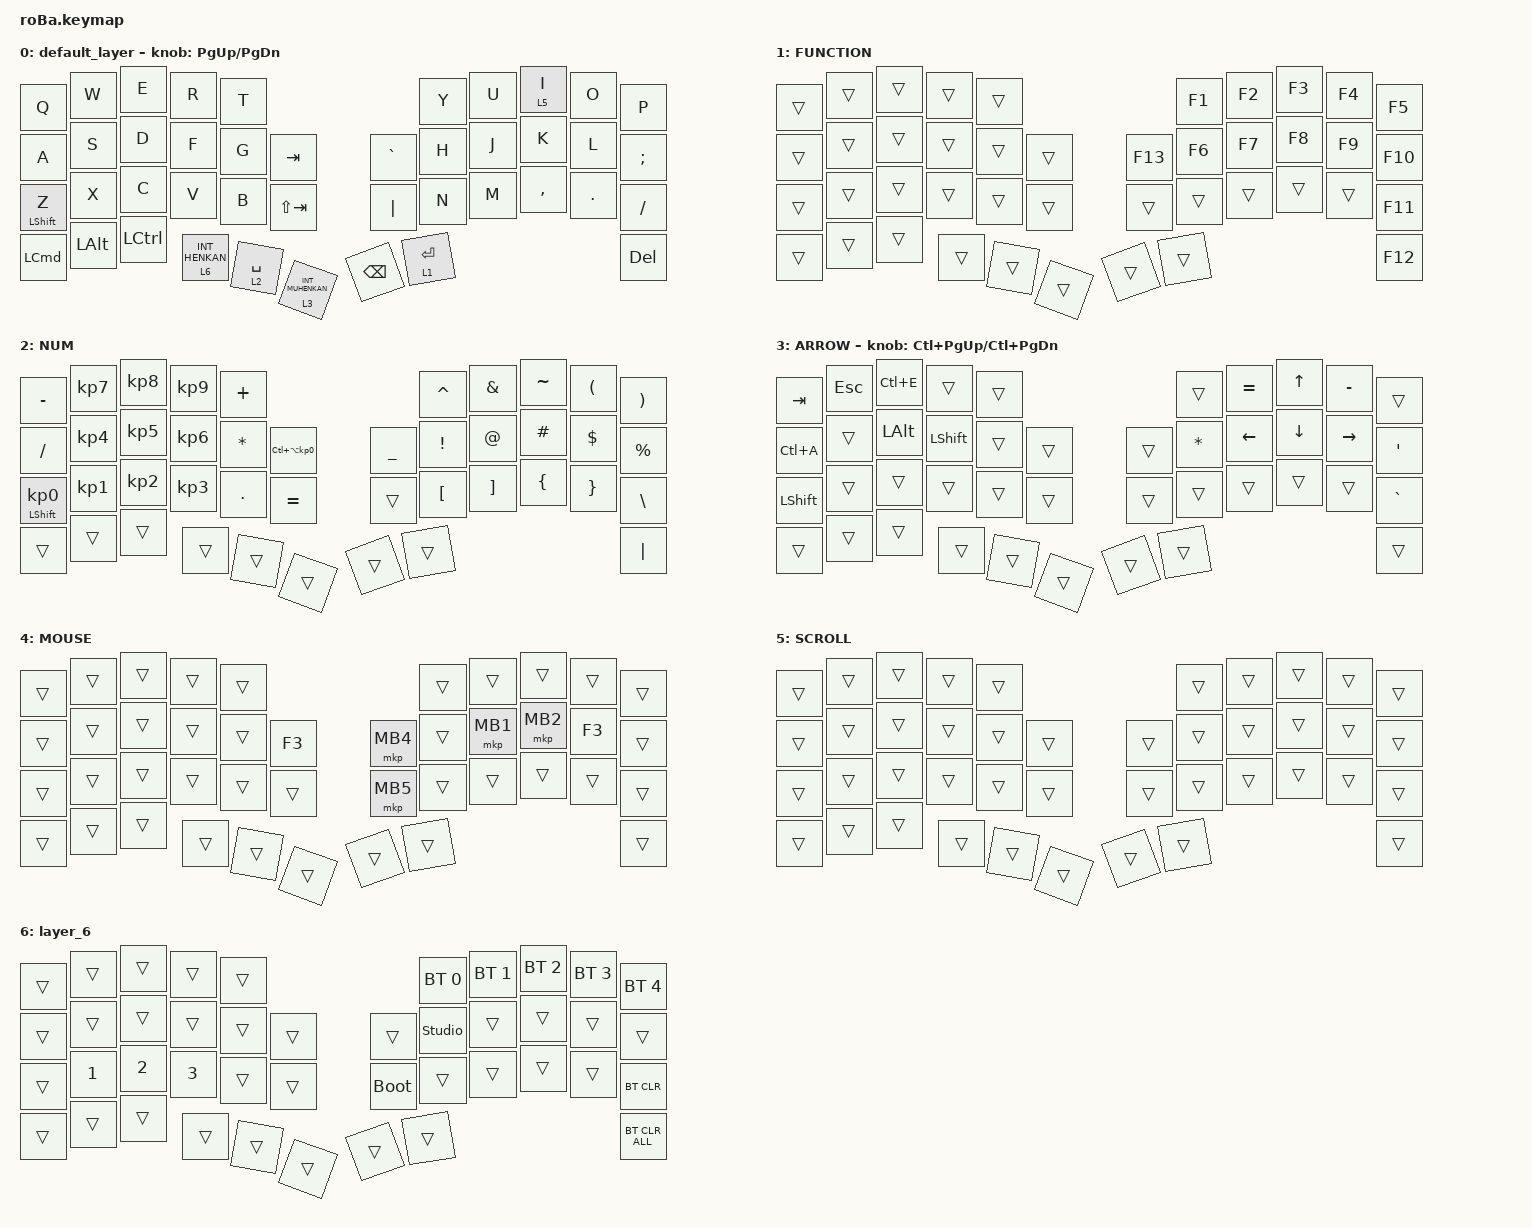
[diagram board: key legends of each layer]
#include <behaviors.dtsi>
#include <dt-bindings/zmk/bt.h>
#include <dt-bindings/zmk/keys.h>
#include <dt-bindings/zmk/pointing.h>

&mt {
    flavor = "balanced";
    quick-tap-ms = <0>;
};

// DYA Studio対応: 旧 &trackball { automouse-layer scroll-layers } は削除。
//   cormoran 版ドライバ(cormoran,pmw3610)はこれらのプロパティを持たないため。
//   auto mouse layer / スクロールは roBa_R.overlay の runtime input processor で実現し、
//   DYA Studio から実行時に変更できる。

/ {
    combos {
        compatible = "zmk,combos";

        tab {
            bindings = <&kp TAB>;
            key-positions = <0 1>;
        };

        shift_tab {
            bindings = <&kp LS(TAB)>;
            key-positions = <1 2>;
        };

        double_quotation {
            bindings = <&kp DOUBLE_QUOTES>;
            key-positions = <20 21>;
        };

        zenkaku_hanaku {
            bindings = <&kp RA(SPACE)>;
            key-positions = <18 19>;
        };

        backspace {
            bindings = <&kp BACKSPACE>;
            key-positions = <9 8>;
        };

        delete_key {
            bindings = <&kp DELETE>;
            key-positions = <7 8>;
        };

        cmd_space {
            bindings = <&kp LG(SPACE)>;
            key-positions = <12 13>;
        };

        cmd2tap {
            bindings = <&double_tap_cmd>;
            key-positions = <2 3>;
        };
    };

    macros {
        to_layer_0: to_layer_0 {
            compatible = "zmk,behavior-macro-one-param";
            #binding-cells = <1>;
            bindings = <&to 0 &macro_param_1to1 &kp MACRO_PLACEHOLDER>;
            label = "TO_LAYER_0";
        };

        double_tap_cmd: double_tap_cmd {
            compatible = "zmk,behavior-macro";
            #binding-cells = <0>;
            bindings = <&kp LEFT_COMMAND &kp LEFT_COMMAND>;
            label = "DOUBLE_TAP_CMD";
        };
    };

    behaviors {
        lt_to_layer_0: lt_to_layer_0 {
            compatible = "zmk,behavior-hold-tap";
            label = "LAYER_TAP_TO_0";
            bindings = <&mo>, <&to_layer_0>;

            #binding-cells = <2>;
            tapping-term-ms = <200>;
        };
    };

    keymap {
        compatible = "zmk,keymap";

        default_layer {
            bindings = <
&kp Q             &kp W         &kp E             &kp R                        &kp T                                                          &kp Y        &kp U  &lt 5 I    &kp O    &kp P
&kp A             &kp S         &kp D             &kp F                        &kp G        &kp TAB                            &kp GRAVE      &kp H        &kp J  &kp K      &kp L    &kp SEMICOLON
&mt LEFT_SHIFT Z  &kp X         &kp C             &kp V                        &kp B        &kp LS(TAB)                        &kp PIPE       &kp N        &kp M  &kp COMMA  &kp DOT  &kp SLASH
&kp LEFT_COMMAND  &kp LEFT_ALT  &kp LEFT_CONTROL  &lt_to_layer_0 6 INT_HENKAN  &lt 2 SPACE  &lt_to_layer_0 3 INT_MUHENKAN      &kp BACKSPACE  &lt 1 ENTER                             &kp DEL
            >;

            sensor-bindings = <&inc_dec_kp PG_UP PAGE_DOWN>;
        };

        FUNCTION {
            bindings = <
&trans  &trans  &trans  &trans  &trans                       &kp F1  &kp F2  &kp F3  &kp F4  &kp F5
&trans  &trans  &trans  &trans  &trans  &trans      &kp F13  &kp F6  &kp F7  &kp F8  &kp F9  &kp F10
&trans  &trans  &trans  &trans  &trans  &trans      &trans   &trans  &trans  &trans  &trans  &kp F11
&trans  &trans  &trans  &trans  &trans  &trans      &trans   &trans                          &kp F12
            >;
        };

        NUM {
            bindings = <
&kp MINUS                   &kp KP_NUMBER_7  &kp KP_NUMBER_8  &kp KP_NUMBER_9  &kp PLUS                                                   &kp CARET         &kp AMPERSAND      &kp TILDE       &kp LEFT_PARENTHESIS  &kp RIGHT_PARENTHESIS
&kp SLASH                   &kp KP_NUMBER_4  &kp KP_NUMBER_5  &kp KP_NUMBER_6  &kp ASTERISK  &kp LC(LA(KP_NUMBER_0))      &kp UNDERSCORE  &kp EXCLAMATION   &kp AT_SIGN        &kp HASH        &kp DOLLAR            &kp PERCENT
&mt LEFT_SHIFT KP_NUMBER_0  &kp KP_NUMBER_1  &kp KP_NUMBER_2  &kp KP_NUMBER_3  &kp PERIOD    &kp EQUAL                    &trans          &kp LEFT_BRACKET  &kp RIGHT_BRACKET  &kp LEFT_BRACE  &kp RIGHT_BRACE       &kp BACKSLASH
&trans                      &trans           &trans           &trans           &trans        &trans                       &trans          &trans                                                                     &kp PIPE
            >;
        };

        ARROW {
            bindings = <
&kp TAB         &kp ESCAPE  &kp LC(E)     &trans          &trans                      &trans        &kp EQUAL       &kp UP_ARROW    &kp MINUS        &trans
&kp LC(A)       &trans      &kp LEFT_ALT  &kp LEFT_SHIFT  &trans  &trans      &trans  &kp ASTERISK  &kp LEFT_ARROW  &kp DOWN_ARROW  &kp RIGHT_ARROW  &kp SQT
&kp LEFT_SHIFT  &trans      &trans        &trans          &trans  &trans      &trans  &trans        &trans          &trans          &trans           &kp GRAVE
&trans          &trans      &trans        &trans          &trans  &trans      &trans  &trans                                                         &trans
            >;

            sensor-bindings = <&inc_dec_kp LC(PAGE_UP) LC(PAGE_DOWN)>;
        };

        MOUSE {
            bindings = <
&trans  &trans  &trans  &trans  &trans                        &trans  &trans    &trans    &trans  &trans
&trans  &trans  &trans  &trans  &trans  &kp F3      &mkp MB4  &trans  &mkp MB1  &mkp MB2  &kp F3  &trans
&trans  &trans  &trans  &trans  &trans  &trans      &mkp MB5  &trans  &trans    &trans    &trans  &trans
&trans  &trans  &trans  &trans  &trans  &trans      &trans    &trans                              &trans
            >;
        };

        SCROLL {
            bindings = <
&trans  &trans  &trans  &trans  &trans                      &trans  &trans  &trans  &trans  &trans
&trans  &trans  &trans  &trans  &trans  &trans      &trans  &trans  &trans  &trans  &trans  &trans
&trans  &trans  &trans  &trans  &trans  &trans      &trans  &trans  &trans  &trans  &trans  &trans
&trans  &trans  &trans  &trans  &trans  &trans      &trans  &trans                          &trans
            >;
        };

        layer_6 {
            // DYA Studio対応: &studio_unlock を追加 (DYA Studio 接続時にこのキーでロック解除する)

            bindings = <
&trans  &trans        &trans        &trans        &trans                           &bt BT_SEL 0    &bt BT_SEL 1  &bt BT_SEL 2  &bt BT_SEL 3  &bt BT_SEL 4
&trans  &trans        &trans        &trans        &trans  &trans      &trans       &studio_unlock  &trans        &trans        &trans        &trans
&trans  &kp NUMBER_1  &kp NUMBER_2  &kp NUMBER_3  &trans  &trans      &bootloader  &trans          &trans        &trans        &trans        &bt BT_CLR
&trans  &trans        &trans        &trans        &trans  &trans      &trans       &trans                                                    &bt BT_CLR_ALL
            >;
        };
    };
};
